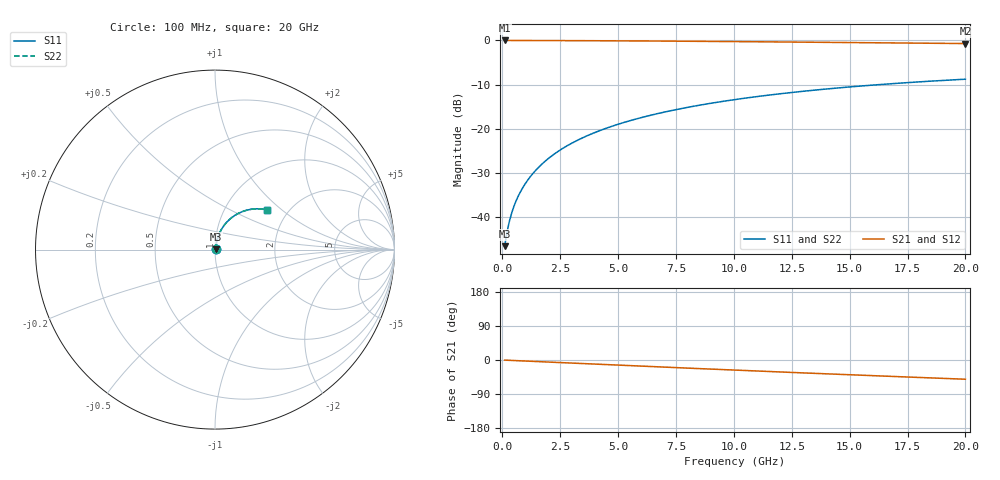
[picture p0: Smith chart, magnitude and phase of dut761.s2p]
! Touchstone file exported from HFSS 2026.1.0
!  File:  C:/ffzhzh/LocalFiles/Ansys_Project_Files/temp_train_BSMRDL_761_1783169057_55132.aedt
!  Generated:  08:45:29 PM Jul  4, 2026
!  Design:  BSMRDL
!  Project:  temp_train_BSMRDL_761_1783169057_55132
! Variables:
!  h_bsmrdl = 2.86um
!  h_ox = 20um
!  h_rdl = 5um
!  h_sub = 80um
!  h_tmrdl = 5um
!  h_tsv = 80um
!  h_via = 3um
!  l_bsmrdl = 798.65um
!  l_sub = 1198.65um
!  l_tmrdl = 200um
!  m_sub = 200um
!  pitch = 48.07um
!  r_tsv = 6um
!  s_tmrdl = 10um
!  w_bsmrdl = 27.79um
!  w_sub = 500um
!  w_tmrdl = 12um
!  x_tsv_center1 = 206um
!  x_tsv_center2 = 1032.44um
!  x_tsv_center3 = 1244.44um
!  x_tsv_center4 = 2070.88um
!  x_tsv_center5 = 2282.88um
!  x_tsv_center6 = 3109.32um
# GHz S MA R 50.000000
! Terminal data exported
! Port[1] = BSM_RDL1_1_T1
! Port[2] = BSM_RDL1_1_T2
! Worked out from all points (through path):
!   200 points, 100 MHz to 20 GHz, reference 50 ohm
!   highest |S21| = -0.03 dB at 100 MHz (marker M1); lowest = -0.7 dB at 20 GHz (marker M2)
!   group delay of S21, straight-line fit = 7.05 ps
!   lowest |S11| = -46.6 dB at 100 MHz (marker M3), VSWR 1.01, Z = 50.4 + j0.269 ohm
!   |S11| at or under -10 dB: start of sweep to 16.33 GHz
!   |S22| runs from -46.6 to -8.8 dB; largest |S21 - S12| = 3e-15
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0.1  0.004692 34.6  0.9961 -0.3  0.9961 -0.3  0.004692 34.6
! Gamma 0 0 0 0
! Port Impedance 50 0 50 0
0.2  0.006656 51.6  0.9959 -0.6  0.9959 -0.6  0.006656 51.6
0.3  0.008836 59.6  0.9956 -0.9  0.9956 -0.9  0.008836 59.6
0.4  0.01102 64.2  0.9954 -1.1  0.9954 -1.1  0.01102 64.2
0.5  0.01319 67.3  0.9951 -1.4  0.9951 -1.4  0.01319 67.3
0.6  0.01535 69.5  0.995 -1.7  0.995 -1.7  0.01535 69.5
0.8  0.01968 72.6  0.9947 -2.2  0.9947 -2.2  0.01968 72.6
1.1  0.02624 75.2  0.9944 -3.0  0.9944 -3.0  0.02624 75.2
1.3  0.03065 76.2  0.9941 -3.6  0.9941 -3.6  0.03066 76.2
1.6  0.03732 77.1  0.9938 -4.4  0.9938 -4.4  0.03732 77.1
2.1  0.04847 77.5  0.9932 -5.7  0.9932 -5.7  0.04847 77.5
2.7  0.06186 77.2  0.9922 -7.3  0.9922 -7.3  0.06186 77.2
3.5  0.0796 76.0  0.9906 -9.5  0.9906 -9.5  0.07961 76.0
4.2  0.09497 74.7  0.989 -11.4  0.989 -11.4  0.09498 74.7
5  0.1123 73.0  0.9868 -13.5  0.9868 -13.5  0.1123 72.9
5.9  0.1314 70.9  0.9839 -15.9  0.9839 -15.9  0.1314 70.9
6.8  0.1502 68.7  0.9808 -18.3  0.9808 -18.3  0.1502 68.7
8.3  0.1803 65.1  0.9749 -22.2  0.9749 -22.2  0.1803 65.0
10.1  0.2146 60.7  0.967 -26.8  0.967 -26.8  0.2146 60.6
13.4  0.2719 52.7  0.9513 -35.1  0.9513 -35.1  0.2719 52.6
16.7  0.3214 44.9  0.9349 -43.0  0.9349 -43.0  0.3215 44.9
20  0.3631 37.4  0.9191 -50.7  0.9191 -50.7  0.3631 37.4
